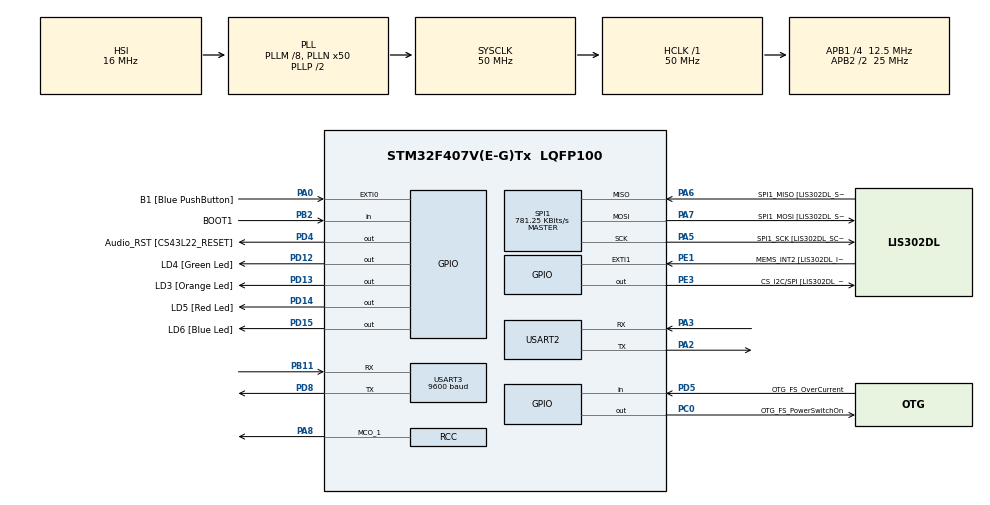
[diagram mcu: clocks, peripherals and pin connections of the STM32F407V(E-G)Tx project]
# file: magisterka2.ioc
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Mcu.Family=STM32F4
Mcu.Name=STM32F407V(E-G)Tx
Mcu.Package=LQFP100
NVIC.PriorityGroup=NVIC_PRIORITYGROUP_0
NVIC.SPI1_IRQn=true\:0\:0\:false\:false\:true
NVIC.USART3_IRQn=true\:0\:0\:false\:false\:true
PA0-WKUP.GPIO_Label=B1 [Blue PushButton]
PA0-WKUP.Signal=GPXTI0
PA10.GPIO_Label=OTG_FS_ID
PA10.GPIO_Mode=GPIO_MODE_AF_PP
PA10.GPIO_PuPd=GPIO_NOPULL
PA10.GPIO_Speed=GPIO_SPEED_FREQ_LOW
PA10.Signal=USB_OTG_FS_ID
PA11.GPIO_Label=OTG_FS_DM
PA11.GPIO_Mode=GPIO_MODE_AF_PP
PA11.GPIO_PuPd=GPIO_NOPULL
PA11.GPIO_Speed=GPIO_SPEED_FREQ_LOW
PA11.Signal=USB_OTG_FS_DM
PA12.GPIO_Label=OTG_FS_DP
PA12.GPIO_Mode=GPIO_MODE_AF_PP
PA12.GPIO_PuPd=GPIO_NOPULL
PA12.GPIO_Speed=GPIO_SPEED_FREQ_LOW
PA12.Signal=USB_OTG_FS_DP
PA13.GPIO_Label=SWDIO
PA13.Signal=SYS_JTMS-SWDIO
PA14.GPIO_Label=SWCLK
PA14.Signal=SYS_JTCK-SWCLK
PA2.Mode=Asynchronous
PA2.Signal=USART2_TX
PA3.Mode=Asynchronous
PA3.Signal=USART2_RX
PA4.GPIO_Label=I2S3_WS [CS43L22_LRCK]
PA4.GPIO_Mode=GPIO_MODE_AF_PP
PA4.GPIO_PuPd=GPIO_NOPULL
PA4.GPIO_Speed=GPIO_SPEED_FREQ_LOW
PA4.Signal=I2S3_WS
PA5.GPIO_Label=SPI1_SCK [LIS302DL_SCL/SPC]
PA5.GPIO_Mode=GPIO_MODE_AF_PP
PA5.GPIO_PuPd=GPIO_NOPULL
PA5.GPIO_Speed=GPIO_SPEED_FREQ_LOW
PA5.Mode=Full_Duplex_Master
PA5.Signal=SPI1_SCK
PA6.GPIO_Label=SPI1_MISO [LIS302DL_SDO]
PA6.GPIO_Mode=GPIO_MODE_AF_PP
PA6.GPIO_PuPd=GPIO_NOPULL
PA6.GPIO_Speed=GPIO_SPEED_FREQ_LOW
PA6.Mode=Full_Duplex_Master
PA6.Signal=SPI1_MISO
PA7.GPIO_Label=SPI1_MOSI [LIS302DL_SDA/SDI/SDO]
PA7.GPIO_Mode=GPIO_MODE_AF_PP
PA7.GPIO_PuPd=GPIO_NOPULL
PA7.GPIO_Speed=GPIO_SPEED_FREQ_LOW
PA7.Mode=Full_Duplex_Master
PA7.Signal=SPI1_MOSI
PA8.Mode=Clock-out-1
PA8.Signal=RCC_MCO_1
PA9.GPIO_Label=VBUS_FS
PA9.GPIO_Mode=GPIO_MODE_INPUT
PA9.GPIO_PuPd=GPIO_NOPULL
PA9.Signal=USB_OTG_FS_VBUS
PB10.GPIO_Label=CLK_IN [MP45DT02_CLK]
PB10.GPIO_Mode=GPIO_MODE_AF_PP
PB10.GPIO_PuPd=GPIO_NOPULL
PB10.GPIO_Speed=GPIO_SPEED_FREQ_LOW
PB10.Signal=I2S2_CK
PB11.Mode=Asynchronous
PB11.Signal=USART3_RX
PB2.GPIO_Label=BOOT1
PB2.GPIO_Mode=GPIO_MODE_INPUT
PB2.GPIO_PuPd=GPIO_NOPULL
PB2.Signal=GPIO_Input
PB3.GPIO_Label=SWO
PB3.Signal=SYS_JTDO-SWO
PB6.GPIO_Label=Audio_SCL [CS43L22_SCL]
PB6.GPIO_Mode=GPIO_MODE_AF_OD
PB6.GPIO_PuPd=GPIO_NOPULL
PB6.GPIO_Speed=GPIO_SPEED_FREQ_LOW
PB6.Signal=I2C1_SCL
PB9.GPIO_Label=Audio_SDA [CS43L22_SDA]
PB9.GPIO_Mode=GPIO_MODE_AF_OD
PB9.GPIO_PuPd=GPIO_NOPULL
PB9.GPIO_Speed=GPIO_SPEED_FREQ_LOW
PB9.Signal=I2C1_SDA
PC0.GPIO_Label=OTG_FS_PowerSwitchOn
PC0.GPIO_PuPd=GPIO_NOPULL
PC0.GPIO_Speed=GPIO_SPEED_FREQ_LOW
PC0.PinState=GPIO_PIN_SET
PC0.Signal=GPIO_Output
PC10.GPIO_Label=I2S3_SCK [CS43L22_SCLK]
PC10.GPIO_Mode=GPIO_MODE_AF_PP
PC10.GPIO_PuPd=GPIO_NOPULL
PC10.GPIO_Speed=GPIO_SPEED_FREQ_LOW
PC10.Signal=I2S3_CK
PC12.GPIO_Label=I2S3_SD [CS43L22_SDIN]
PC12.GPIO_Mode=GPIO_MODE_AF_PP
PC12.GPIO_PuPd=GPIO_NOPULL
PC12.GPIO_Speed=GPIO_SPEED_FREQ_LOW
PC12.Signal=I2S3_SD
PC14-OSC32_IN.GPIO_Label=PC14-OSC32_IN
PC14-OSC32_IN.Signal=RCC_OSC32_IN
PC15-OSC32_OUT.GPIO_Label=PC15-OSC32_OUT
PC15-OSC32_OUT.Signal=RCC_OSC32_OUT
PC3.GPIO_Label=PDM_OUT [MP45DT02_DOUT]
PC3.GPIO_Mode=GPIO_MODE_AF_PP
PC3.GPIO_PuPd=GPIO_NOPULL
PC3.GPIO_Speed=GPIO_SPEED_FREQ_LOW
PC3.Signal=I2S2_SD
PC7.GPIO_Label=I2S3_MCK [CS43L22_MCLK]
PC7.GPIO_Mode=GPIO_MODE_AF_PP
PC7.GPIO_PuPd=GPIO_NOPULL
PC7.GPIO_Speed=GPIO_SPEED_FREQ_LOW
PC7.Signal=I2S3_MCK
PD12.GPIO_Label=LD4 [Green Led]
PD12.GPIO_PuPd=GPIO_NOPULL
PD12.GPIO_Speed=GPIO_SPEED_FREQ_LOW
PD12.Signal=GPIO_Output
PD13.GPIO_Label=LD3 [Orange Led]
PD13.GPIO_PuPd=GPIO_NOPULL
PD13.GPIO_Speed=GPIO_SPEED_FREQ_LOW
PD13.Signal=GPIO_Output
PD14.GPIO_Label=LD5 [Red Led]
PD14.GPIO_PuPd=GPIO_NOPULL
PD14.GPIO_Speed=GPIO_SPEED_FREQ_LOW
PD14.Signal=GPIO_Output
PD15.GPIO_Label=LD6 [Blue Led]
PD15.GPIO_PuPd=GPIO_NOPULL
PD15.GPIO_Speed=GPIO_SPEED_FREQ_LOW
PD15.Signal=GPIO_Output
PD4.GPIO_Label=Audio_RST [CS43L22_RESET]
PD4.GPIO_PuPd=GPIO_NOPULL
PD4.GPIO_Speed=GPIO_SPEED_FREQ_LOW
PD4.Signal=GPIO_Output
PD5.GPIO_Label=OTG_FS_OverCurrent
PD5.GPIO_Mode=GPIO_MODE_INPUT
PD5.GPIO_PuPd=GPIO_NOPULL
PD5.Signal=GPIO_Input
PD8.Mode=Asynchronous
PD8.Signal=USART3_TX
PE1.GPIO_Label=MEMS_INT2 [LIS302DL_INT2]
PE1.GPIO_ModeDefaultEXTI=GPIO_MODE_EVT_RISING
PE1.GPIO_PuPd=GPIO_NOPULL
PE1.Signal=GPXTI1
PE3.GPIO_Label=CS_I2C/SPI [LIS302DL_CS_I2C/SPI]
PE3.GPIO_PuPd=GPIO_NOPULL
PE3.GPIO_Speed=GPIO_SPEED_FREQ_LOW
PE3.Signal=GPIO_Output
PH0-OSC_IN.GPIO_Label=PH0-OSC_IN
PH0-OSC_IN.Mode=HSE-External-Oscillator
PH0-OSC_IN.Signal=RCC_OSC_IN
PH1-OSC_OUT.GPIO_Label=PH1-OSC_OUT
PH1-OSC_OUT.Mode=HSE-External-Oscillator
PH1-OSC_OUT.Signal=RCC_OSC_OUT
ProjectManager.HeapSize=0x200
ProjectManager.StackSize=0x400
ProjectManager.TargetToolchain=SW4STM32
RCC.48MHZClocksFreq_Value=14285714.285714285
RCC.AHBFreq_Value=50000000
RCC.APB1CLKDivider=RCC_HCLK_DIV4
RCC.APB1Freq_Value=12500000
RCC.APB1TimFreq_Value=25000000
RCC.APB2CLKDivider=RCC_HCLK_DIV2
RCC.APB2Freq_Value=25000000
RCC.APB2TimFreq_Value=50000000
RCC.CortexFreq_Value=50000000
RCC.HCLKFreq_Value=50000000
RCC.HSE_VALUE=8000000
RCC.HSI_VALUE=16000000
RCC.LSE_VALUE=32768
RCC.PLLM=8
RCC.PLLN=50
RCC.PLLQ=7
RCC.SYSCLKFreq_VALUE=50000000
RCC.SYSCLKSource=RCC_SYSCLKSOURCE_PLLCLK
RCC.VCOOutputFreq_Value=100000000
SPI1.BaudRatePrescaler=SPI_BAUDRATEPRESCALER_32
SPI1.CLKPhase=SPI_PHASE_1EDGE
SPI1.CLKPolarity=SPI_POLARITY_LOW
SPI1.CalculateBaudRate=781.25 KBits/s
SPI1.DataSize=SPI_DATASIZE_8BIT
SPI1.Direction=SPI_DIRECTION_2LINES
SPI1.Mode=SPI_MODE_MASTER
SPI1.VirtualType=VM_MASTER
USART2.VirtualMode=VM_ASYNC
USART3.BaudRate=9600
USART3.VirtualMode=VM_ASYNC
board=STM32F407G-DISC1

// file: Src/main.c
/**
  ******************************************************************************
  * File Name          : main.c
  * Description        : Main program body
  ******************************************************************************
  *
  * COPYRIGHT(c) 2017 STMicroelectronics
  *
  * Redistribution and use in source and binary forms, with or without modification,
  * are permitted provided that the following conditions are met:
  *   1. Redistributions of source code must retain the above copyright notice,
  *      this list of conditions and the following disclaimer.
  *   2. Redistributions in binary form must reproduce the above copyright notice,
  *      this list of conditions and the following disclaimer in the documentation
  *      and/or other materials provided with the distribution.
  *   3. Neither the name of STMicroelectronics nor the names of its contributors
  *      may be used to endorse or promote products derived from this software
  *      without specific prior written permission.
  *
  * THIS SOFTWARE IS PROVIDED BY THE COPYRIGHT HOLDERS AND CONTRIBUTORS "AS IS"
  * AND ANY EXPRESS OR IMPLIED WARRANTIES, INCLUDING, BUT NOT LIMITED TO, THE
  * IMPLIED WARRANTIES OF MERCHANTABILITY AND FITNESS FOR A PARTICULAR PURPOSE ARE
  * DISCLAIMED. IN NO EVENT SHALL THE COPYRIGHT HOLDER OR CONTRIBUTORS BE LIABLE
  * FOR ANY DIRECT, INDIRECT, INCIDENTAL, SPECIAL, EXEMPLARY, OR CONSEQUENTIAL
  * DAMAGES (INCLUDING, BUT NOT LIMITED TO, PROCUREMENT OF SUBSTITUTE GOODS OR
  * SERVICES; LOSS OF USE, DATA, OR PROFITS; OR BUSINESS INTERRUPTION) HOWEVER
  * CAUSED AND ON ANY THEORY OF LIABILITY, WHETHER IN CONTRACT, STRICT LIABILITY,
  * OR TORT (INCLUDING NEGLIGENCE OR OTHERWISE) ARISING IN ANY WAY OUT OF THE USE
  * OF THIS SOFTWARE, EVEN IF ADVISED OF THE POSSIBILITY OF SUCH DAMAGE.
  *
  ******************************************************************************
  */
#include "main.h"
#include "stm32f4xx_hal.h"

/* USER CODE BEGIN Includes */

#include "acc.h"

#define ACC_MULTIPLIER 10

/* USER CODE END Includes */

struct gpsData{
	double longitude;
	double latitude;
	double speed;
} GpsData;
SPI_HandleTypeDef hspi1;

UART_HandleTypeDef huart2;
UART_HandleTypeDef huart3;

/* USER CODE BEGIN PV */
/* Private variables ---------------------------------------------------------*/

uint8_t gpsBuffer;
uint8_t inputBuffer[5];
int8_t buffer[6];
int8_t status = 0;
int gyroData[3];
AccData accData;
int size = 0;

/* USER CODE END PV */

void SystemClock_Config(void);
void Error_Handler(void);
static void MX_GPIO_Init(void);
static void MX_SPI1_Init(void);
static void MX_USART2_UART_Init(void);
static void MX_USART3_UART_Init(void);

/* USER CODE BEGIN PFP */
/* Private function prototypes -----------------------------------------------*/

void getAccData();
void getCoords();
void initAccelerometer();
void HAL_UART_RxCpltCallback(UART_HandleTypeDef*);
void HAL_UART_TxCpltCallback(UART_HandleTypeDef*);

/* USER CODE END PFP */

int main(void)
{

  /* MCU Configuration----------------------------------------------------------*/

  /* Reset of all peripherals, Initializes the Flash interface and the Systick. */
  HAL_Init();
  /* Configure the system clock */
  SystemClock_Config();

  /* Initialize all configured peripherals */
  MX_GPIO_Init();
  MX_SPI1_Init();
  MX_USART2_UART_Init();
  MX_USART3_UART_Init();

  /* USER CODE BEGIN 2 */

	initAccelerometer();
	HAL_UART_Receive_IT(&huart3, &gpsBuffer, 1);
	HAL_UART_Transmit_IT(&huart2, inputBuffer, 1);

  /* USER CODE END 2 */

  /* Infinite loop */
	while (1) {

  /* USER CODE BEGIN 3 */

		getCoords();

		HAL_Delay(100);

	}
  /* USER CODE END 3 */

}

/** System Clock Configuration
*/
void SystemClock_Config(void)
{

  RCC_OscInitTypeDef RCC_OscInitStruct;
  RCC_ClkInitTypeDef RCC_ClkInitStruct;

    /**Configure the main internal regulator output voltage
    */
  __HAL_RCC_PWR_CLK_ENABLE();

  __HAL_PWR_VOLTAGESCALING_CONFIG(PWR_REGULATOR_VOLTAGE_SCALE1);

    /**Initializes the CPU, AHB and APB busses clocks
    */
  RCC_OscInitStruct.OscillatorType = RCC_OSCILLATORTYPE_HSI;
  RCC_OscInitStruct.HSIState = RCC_HSI_ON;
  RCC_OscInitStruct.HSICalibrationValue = 16;
  RCC_OscInitStruct.PLL.PLLState = RCC_PLL_ON;
  RCC_OscInitStruct.PLL.PLLSource = RCC_PLLSOURCE_HSI;
  RCC_OscInitStruct.PLL.PLLM = 8;
  RCC_OscInitStruct.PLL.PLLN = 50;
  RCC_OscInitStruct.PLL.PLLP = RCC_PLLP_DIV2;
  RCC_OscInitStruct.PLL.PLLQ = 7;
  if (HAL_RCC_OscConfig(&RCC_OscInitStruct) != HAL_OK)
  {
    Error_Handler();
  }

    /**Initializes the CPU, AHB and APB busses clocks
    */
  RCC_ClkInitStruct.ClockType = RCC_CLOCKTYPE_HCLK|RCC_CLOCKTYPE_SYSCLK
                              |RCC_CLOCKTYPE_PCLK1|RCC_CLOCKTYPE_PCLK2;
  RCC_ClkInitStruct.SYSCLKSource = RCC_SYSCLKSOURCE_PLLCLK;
  RCC_ClkInitStruct.AHBCLKDivider = RCC_SYSCLK_DIV1;
  RCC_ClkInitStruct.APB1CLKDivider = RCC_HCLK_DIV4;
  RCC_ClkInitStruct.APB2CLKDivider = RCC_HCLK_DIV2;

  if (HAL_RCC_ClockConfig(&RCC_ClkInitStruct, FLASH_LATENCY_1) != HAL_OK)
  {
    Error_Handler();
  }

  HAL_RCC_MCOConfig(RCC_MCO1, RCC_MCO1SOURCE_HSI, RCC_MCODIV_1);

    /**Configure the Systick interrupt time
    */
  HAL_SYSTICK_Config(HAL_RCC_GetHCLKFreq()/1000);

    /**Configure the Systick
    */
  HAL_SYSTICK_CLKSourceConfig(SYSTICK_CLKSOURCE_HCLK);

  /* SysTick_IRQn interrupt configuration */
  HAL_NVIC_SetPriority(SysTick_IRQn, 0, 0);
}

/* SPI1 init function */
static void MX_SPI1_Init(void)
{

  hspi1.Instance = SPI1;
  hspi1.Init.Mode = SPI_MODE_MASTER;
  hspi1.Init.Direction = SPI_DIRECTION_2LINES;
  hspi1.Init.DataSize = SPI_DATASIZE_8BIT;
  hspi1.Init.CLKPolarity = SPI_POLARITY_LOW;
  hspi1.Init.CLKPhase = SPI_PHASE_1EDGE;
  hspi1.Init.NSS = SPI_NSS_SOFT;
  hspi1.Init.BaudRatePrescaler = SPI_BAUDRATEPRESCALER_32;
  hspi1.Init.FirstBit = SPI_FIRSTBIT_MSB;
  hspi1.Init.TIMode = SPI_TIMODE_DISABLE;
  hspi1.Init.CRCCalculation = SPI_CRCCALCULATION_DISABLE;
  hspi1.Init.CRCPolynomial = 10;
  if (HAL_SPI_Init(&hspi1) != HAL_OK)
  {
    Error_Handler();
  }

}

/* USART2 init function */
static void MX_USART2_UART_Init(void)
{

  huart2.Instance = USART2;
  huart2.Init.BaudRate = 115200;
  huart2.Init.WordLength = UART_WORDLENGTH_8B;
  huart2.Init.StopBits = UART_STOPBITS_1;
  huart2.Init.Parity = UART_PARITY_NONE;
  huart2.Init.Mode = UART_MODE_TX_RX;
  huart2.Init.HwFlowCtl = UART_HWCONTROL_NONE;
  huart2.Init.OverSampling = UART_OVERSAMPLING_16;
  if (HAL_UART_Init(&huart2) != HAL_OK)
  {
    Error_Handler();
  }

}

/* USART3 init function */
static void MX_USART3_UART_Init(void)
{

  huart3.Instance = USART3;
  huart3.Init.BaudRate = 9600;
  huart3.Init.WordLength = UART_WORDLENGTH_8B;
  huart3.Init.StopBits = UART_STOPBITS_1;
  huart3.Init.Parity = UART_PARITY_NONE;
  huart3.Init.Mode = UART_MODE_TX_RX;
  huart3.Init.HwFlowCtl = UART_HWCONTROL_NONE;
  huart3.Init.OverSampling = UART_OVERSAMPLING_16;
  if (HAL_UART_Init(&huart3) != HAL_OK)
  {
    Error_Handler();
  }

}

/** Configure pins as
        * Analog
        * Input
        * Output
        * EVENT_OUT
        * EXTI
     PC3   ------> I2S2_SD
     PA4   ------> I2S3_WS
     PB10   ------> I2S2_CK
     PC7   ------> I2S3_MCK
     PA8   ------> RCC_MCO_1
     PA9   ------> USB_OTG_FS_VBUS
     PA10   ------> USB_OTG_FS_ID
     PA11   ------> USB_OTG_FS_DM
     PA12   ------> USB_OTG_FS_DP
     PC10   ------> I2S3_CK
     PC12   ------> I2S3_SD
     PB6   ------> I2C1_SCL
     PB9   ------> I2C1_SDA
*/
static void MX_GPIO_Init(void)
{

  GPIO_InitTypeDef GPIO_InitStruct;

  /* GPIO Ports Clock Enable */
  __HAL_RCC_GPIOE_CLK_ENABLE();
  __HAL_RCC_GPIOC_CLK_ENABLE();
  __HAL_RCC_GPIOH_CLK_ENABLE();
  __HAL_RCC_GPIOA_CLK_ENABLE();
  __HAL_RCC_GPIOB_CLK_ENABLE();
  __HAL_RCC_GPIOD_CLK_ENABLE();

  /*Configure GPIO pin Output Level */
  HAL_GPIO_WritePin(CS_I2C_SPI_GPIO_Port, CS_I2C_SPI_Pin, GPIO_PIN_RESET);

  /*Configure GPIO pin Output Level */
  HAL_GPIO_WritePin(OTG_FS_PowerSwitchOn_GPIO_Port, OTG_FS_PowerSwitchOn_Pin, GPIO_PIN_SET);

  /*Configure GPIO pin Output Level */
  HAL_GPIO_WritePin(GPIOD, LD4_Pin|LD3_Pin|LD5_Pin|LD6_Pin
                          |Audio_RST_Pin, GPIO_PIN_RESET);

  /*Configure GPIO pin : CS_I2C_SPI_Pin */
  GPIO_InitStruct.Pin = CS_I2C_SPI_Pin;
  GPIO_InitStruct.Mode = GPIO_MODE_OUTPUT_PP;
  GPIO_InitStruct.Pull = GPIO_NOPULL;
  GPIO_InitStruct.Speed = GPIO_SPEED_FREQ_LOW;
  HAL_GPIO_Init(CS_I2C_SPI_GPIO_Port, &GPIO_InitStruct);

  /*Configure GPIO pin : OTG_FS_PowerSwitchOn_Pin */
  GPIO_InitStruct.Pin = OTG_FS_PowerSwitchOn_Pin;
  GPIO_InitStruct.Mode = GPIO_MODE_OUTPUT_PP;
  GPIO_InitStruct.Pull = GPIO_NOPULL;
  GPIO_InitStruct.Speed = GPIO_SPEED_FREQ_LOW;
  HAL_GPIO_Init(OTG_FS_PowerSwitchOn_GPIO_Port, &GPIO_InitStruct);

  /*Configure GPIO pin : PDM_OUT_Pin */
  GPIO_InitStruct.Pin = PDM_OUT_Pin;
  GPIO_InitStruct.Mode = GPIO_MODE_AF_PP;
  GPIO_InitStruct.Pull = GPIO_NOPULL;
  GPIO_InitStruct.Speed = GPIO_SPEED_FREQ_LOW;
  GPIO_InitStruct.Alternate = GPIO_AF5_SPI2;
  HAL_GPIO_Init(PDM_OUT_GPIO_Port, &GPIO_InitStruct);

  /*Configure GPIO pin : B1_Pin */
  GPIO_InitStruct.Pin = B1_Pin;
  GPIO_InitStruct.Mode = GPIO_MODE_IT_RISING;
  GPIO_InitStruct.Pull = GPIO_NOPULL;
  HAL_GPIO_Init(B1_GPIO_Port, &GPIO_InitStruct);

  /*Configure GPIO pin : I2S3_WS_Pin */
  GPIO_InitStruct.Pin = I2S3_WS_Pin;
  GPIO_InitStruct.Mode = GPIO_MODE_AF_PP;
  GPIO_InitStruct.Pull = GPIO_NOPULL;
  GPIO_InitStruct.Speed = GPIO_SPEED_FREQ_LOW;
  GPIO_InitStruct.Alternate = GPIO_AF6_SPI3;
  HAL_GPIO_Init(I2S3_WS_GPIO_Port, &GPIO_InitStruct);

  /*Configure GPIO pin : BOOT1_Pin */
  GPIO_InitStruct.Pin = BOOT1_Pin;
  GPIO_InitStruct.Mode = GPIO_MODE_INPUT;
  GPIO_InitStruct.Pull = GPIO_NOPULL;
  HAL_GPIO_Init(BOOT1_GPIO_Port, &GPIO_InitStruct);

  /*Configure GPIO pin : CLK_IN_Pin */
  GPIO_InitStruct.Pin = CLK_IN_Pin;
  GPIO_InitStruct.Mode = GPIO_MODE_AF_PP;
  GPIO_InitStruct.Pull = GPIO_NOPULL;
  GPIO_InitStruct.Speed = GPIO_SPEED_FREQ_LOW;
  GPIO_InitStruct.Alternate = GPIO_AF5_SPI2;
  HAL_GPIO_Init(CLK_IN_GPIO_Port, &GPIO_InitStruct);

  /*Configure GPIO pins : LD4_Pin LD3_Pin LD5_Pin LD6_Pin
                           Audio_RST_Pin */
  GPIO_InitStruct.Pin = LD4_Pin|LD3_Pin|LD5_Pin|LD6_Pin
                          |Audio_RST_Pin;
  GPIO_InitStruct.Mode = GPIO_MODE_OUTPUT_PP;
  GPIO_InitStruct.Pull = GPIO_NOPULL;
  GPIO_InitStruct.Speed = GPIO_SPEED_FREQ_LOW;
  HAL_GPIO_Init(GPIOD, &GPIO_InitStruct);

  /*Configure GPIO pins : I2S3_MCK_Pin I2S3_SCK_Pin I2S3_SD_Pin */
  GPIO_InitStruct.Pin = I2S3_MCK_Pin|I2S3_SCK_Pin|I2S3_SD_Pin;
  GPIO_InitStruct.Mode = GPIO_MODE_AF_PP;
  GPIO_InitStruct.Pull = GPIO_NOPULL;
  GPIO_InitStruct.Speed = GPIO_SPEED_FREQ_LOW;
  GPIO_InitStruct.Alternate = GPIO_AF6_SPI3;
  HAL_GPIO_Init(GPIOC, &GPIO_InitStruct);

  /*Configure GPIO pin : PA8 */
  GPIO_InitStruct.Pin = GPIO_PIN_8;
  GPIO_InitStruct.Mode = GPIO_MODE_AF_PP;
  GPIO_InitStruct.Pull = GPIO_NOPULL;
  GPIO_InitStruct.Speed = GPIO_SPEED_FREQ_LOW;
  GPIO_InitStruct.Alternate = GPIO_AF0_MCO;
  HAL_GPIO_Init(GPIOA, &GPIO_InitStruct);

  /*Configure GPIO pin : VBUS_FS_Pin */
  GPIO_InitStruct.Pin = VBUS_FS_Pin;
  GPIO_InitStruct.Mode = GPIO_MODE_INPUT;
  GPIO_InitStruct.Pull = GPIO_NOPULL;
  HAL_GPIO_Init(VBUS_FS_GPIO_Port, &GPIO_InitStruct);

  /*Configure GPIO pins : OTG_FS_ID_Pin OTG_FS_DM_Pin OTG_FS_DP_Pin */
  GPIO_InitStruct.Pin = OTG_FS_ID_Pin|OTG_FS_DM_Pin|OTG_FS_DP_Pin;
  GPIO_InitStruct.Mode = GPIO_MODE_AF_PP;
  GPIO_InitStruct.Pull = GPIO_NOPULL;
  GPIO_InitStruct.Speed = GPIO_SPEED_FREQ_LOW;
  GPIO_InitStruct.Alternate = GPIO_AF10_OTG_FS;
  HAL_GPIO_Init(GPIOA, &GPIO_InitStruct);

  /*Configure GPIO pin : OTG_FS_OverCurrent_Pin */
  GPIO_InitStruct.Pin = OTG_FS_OverCurrent_Pin;
  GPIO_InitStruct.Mode = GPIO_MODE_INPUT;
  GPIO_InitStruct.Pull = GPIO_NOPULL;
  HAL_GPIO_Init(OTG_FS_OverCurrent_GPIO_Port, &GPIO_InitStruct);

  /*Configure GPIO pins : Audio_SCL_Pin Audio_SDA_Pin */
  GPIO_InitStruct.Pin = Audio_SCL_Pin|Audio_SDA_Pin;
  GPIO_InitStruct.Mode = GPIO_MODE_AF_OD;
  GPIO_InitStruct.Pull = GPIO_PULLUP;
  GPIO_InitStruct.Speed = GPIO_SPEED_FREQ_LOW;
  GPIO_InitStruct.Alternate = GPIO_AF4_I2C1;
  HAL_GPIO_Init(GPIOB, &GPIO_InitStruct);

  /*Configure GPIO pin : MEMS_INT2_Pin */
  GPIO_InitStruct.Pin = MEMS_INT2_Pin;
  GPIO_InitStruct.Mode = GPIO_MODE_EVT_RISING;
  GPIO_InitStruct.Pull = GPIO_NOPULL;
  HAL_GPIO_Init(MEMS_INT2_GPIO_Port, &GPIO_InitStruct);

}

/* USER CODE BEGIN 4 */

void getAccData() {
	HAL_GPIO_WritePin(CS_I2C_SPI_GPIO_Port, CS_I2C_SPI_Pin, GPIO_PIN_RESET);
	status = read_register(&hspi1, 0x27);
	buffer[0] = read_register(&hspi1, LIS3DSH_OUT_X_L_ADDR);
	HAL_GPIO_WritePin(CS_I2C_SPI_GPIO_Port, CS_I2C_SPI_Pin, GPIO_PIN_SET);
	HAL_GPIO_WritePin(CS_I2C_SPI_GPIO_Port, CS_I2C_SPI_Pin, GPIO_PIN_RESET);
	buffer[1] = read_register(&hspi1, LIS3DSH_OUT_X_H_ADDR);
	HAL_GPIO_WritePin(CS_I2C_SPI_GPIO_Port, CS_I2C_SPI_Pin, GPIO_PIN_SET);
	HAL_GPIO_WritePin(CS_I2C_SPI_GPIO_Port, CS_I2C_SPI_Pin, GPIO_PIN_RESET);
	buffer[2] = read_register(&hspi1, LIS3DSH_OUT_Y_L_ADDR);
	HAL_GPIO_WritePin(CS_I2C_SPI_GPIO_Port, CS_I2C_SPI_Pin, GPIO_PIN_SET);
	HAL_GPIO_WritePin(CS_I2C_SPI_GPIO_Port, CS_I2C_SPI_Pin, GPIO_PIN_RESET);
	buffer[3] = read_register(&hspi1, LIS3DSH_OUT_Y_H_ADDR);
	HAL_GPIO_WritePin(CS_I2C_SPI_GPIO_Port, CS_I2C_SPI_Pin, GPIO_PIN_SET);
	HAL_GPIO_WritePin(CS_I2C_SPI_GPIO_Port, CS_I2C_SPI_Pin, GPIO_PIN_RESET);
	buffer[4] = read_register(&hspi1, LIS3DSH_OUT_Z_L_ADDR);
	HAL_GPIO_WritePin(CS_I2C_SPI_GPIO_Port, CS_I2C_SPI_Pin, GPIO_PIN_SET);
	HAL_GPIO_WritePin(CS_I2C_SPI_GPIO_Port, CS_I2C_SPI_Pin, GPIO_PIN_RESET);
	buffer[5] = read_register(&hspi1, LIS3DSH_OUT_Z_H_ADDR);
	HAL_GPIO_WritePin(CS_I2C_SPI_GPIO_Port, CS_I2C_SPI_Pin, GPIO_PIN_SET);
}

void initAccelerometer() {
	int data = 0x00;
	int addr = LIS302DL_LIS3DSH_REG_WHO_I_AM;
	/** check id **/
	HAL_UART_Transmit(&huart2, "start ", 6, 200);
	HAL_UART_Transmit(&huart2, data, 1, 200);
	HAL_GPIO_WritePin(CS_I2C_SPI_GPIO_Port, CS_I2C_SPI_Pin, GPIO_PIN_RESET);
	data = read_register(&hspi1, addr);
	HAL_GPIO_WritePin(CS_I2C_SPI_GPIO_Port, CS_I2C_SPI_Pin, GPIO_PIN_SET);
	if (data == 0x3F)
		HAL_UART_Transmit(&huart2, "LIS3DSH", 7, 200);

	HAL_UART_Transmit(&huart2, " koniec\n\r", 9, 200);
	/** init **/
	HAL_GPIO_WritePin(CS_I2C_SPI_GPIO_Port, CS_I2C_SPI_Pin, GPIO_PIN_RESET);
	write_register(&hspi1, LIS3DSH_CTRL_REG4_ADDR, 0x67);
	HAL_GPIO_WritePin(CS_I2C_SPI_GPIO_Port, CS_I2C_SPI_Pin, GPIO_PIN_SET);
	HAL_GPIO_WritePin(CS_I2C_SPI_GPIO_Port, CS_I2C_SPI_Pin, GPIO_PIN_RESET);
	write_register(&hspi1, LIS3DSH_CTRL_REG3_ADDR, 0xC8);
	HAL_GPIO_WritePin(CS_I2C_SPI_GPIO_Port, CS_I2C_SPI_Pin, GPIO_PIN_SET);
	HAL_GPIO_WritePin(CS_I2C_SPI_GPIO_Port, CS_I2C_SPI_Pin, GPIO_PIN_RESET);
	write_register(&hspi1, LIS3DSH_CTRL_REG5_ADDR, 0x00);
	HAL_GPIO_WritePin(CS_I2C_SPI_GPIO_Port, CS_I2C_SPI_Pin, GPIO_PIN_SET);
	HAL_Delay(2000);
}

void getCoords(){

	getAccData();

	/* Set axes */
	accData.X = (int16_t) ((buffer[1] << 8) + buffer[0]) / ACC_MULTIPLIER;
	accData.Y = (int16_t) ((buffer[3] << 8) + buffer[2]) / ACC_MULTIPLIER;
	accData.Z = (int16_t) ((buffer[5] << 8) + buffer[4]) / ACC_MULTIPLIER;

	gyroData[0] = accData.X / 18.9;
	gyroData[1] = accData.Y / 18.9;
	gyroData[2] = accData.Z > 0 ? accData.Z / 18.9 - 90 : accData.Z / 18.9 + 90;

	HAL_GPIO_WritePin(LD3_GPIO_Port, LD3_Pin, GPIO_PIN_RESET);
	HAL_GPIO_WritePin(LD4_GPIO_Port, LD4_Pin, GPIO_PIN_RESET);
	HAL_GPIO_WritePin(LD5_GPIO_Port, LD5_Pin, GPIO_PIN_RESET);
	HAL_GPIO_WritePin(LD6_GPIO_Port, LD6_Pin, GPIO_PIN_RESET);

	if (accData.X > 10 * ACC_MULTIPLIER)
		HAL_GPIO_WritePin(LD5_GPIO_Port, LD5_Pin, GPIO_PIN_SET);
	else if (accData.X < -10 * ACC_MULTIPLIER)
		HAL_GPIO_WritePin(LD4_GPIO_Port, LD4_Pin, GPIO_PIN_SET);
	if (accData.Y > 10 * ACC_MULTIPLIER)
		HAL_GPIO_WritePin(LD3_GPIO_Port, LD3_Pin, GPIO_PIN_SET);
	else if (accData.Y < -10 * ACC_MULTIPLIER)
		HAL_GPIO_WritePin(LD6_GPIO_Port, LD6_Pin, GPIO_PIN_SET);

	char str[50];
	size = sprintf(str, "%i,", gyroData[0]);
	HAL_UART_Transmit(&huart2, str, size, 200);
	HAL_UART_Transmit(&huart2, " ", 1, 200);
	size = sprintf(str, "%i,", gyroData[1]);
	HAL_UART_Transmit(&huart2, str, size, 200);
	HAL_UART_Transmit(&huart2, " ", 1, 200);
	size = sprintf(str, "%i,", gyroData[2]);
	HAL_UART_Transmit(&huart2, str, size, 200);

}

void HAL_UART_RxCpltCallback(UART_HandleTypeDef* huart){
	uint8_t localBuffer[70];
	uint8_t header[6];
	if (gpsBuffer == '$'){
		for (int i=0; i<6; i++){
			header[i] = gpsBuffer;
			HAL_UART_Receive(&huart3, &gpsBuffer, 1, 100);
		}
		if (strncmp(header, "$GPRMC", 6) == 0){
			HAL_UART_Transmit(&huart2, "\r\n", 2, 200);
			HAL_UART_Transmit(&huart2, "$GPRMC,", 7, 200);
			int i=0;
			while(1){
				HAL_UART_Receive(&huart3, &gpsBuffer, 1, 200);
				if(gpsBuffer == '\r' || gpsBuffer == '\n' || i>= 100){
					break;
				}
				localBuffer[i] = gpsBuffer;
				i++;
			}
			char str[i];
			strcpy(str, localBuffer);
			HAL_UART_Transmit(&huart2, str, i, 200);
			HAL_UART_Transmit(&huart2, "\r\n", 2, 200);
		}
		header[3] = '1';
	}
	HAL_UART_Receive_IT(&huart3, &gpsBuffer, 1);
}

void HAL_UART_TxCpltCallback(UART_HandleTypeDef* huart){
	HAL_UART_Transmit(&huart2, huart->Instance->DR, 1, 200);
}

/* USER CODE END 4 */

void Error_Handler(void)
{
  /* USER CODE BEGIN Error_Handler */
	/* User can add his own implementation to report the HAL error return state */
	while (1) {
		HAL_UART_Transmit(&huart2, "Error", 5, 200);
	}
  /* USER CODE END Error_Handler */
}

/************************ (C) COPYRIGHT STMicroelectronics *****END OF FILE****/
